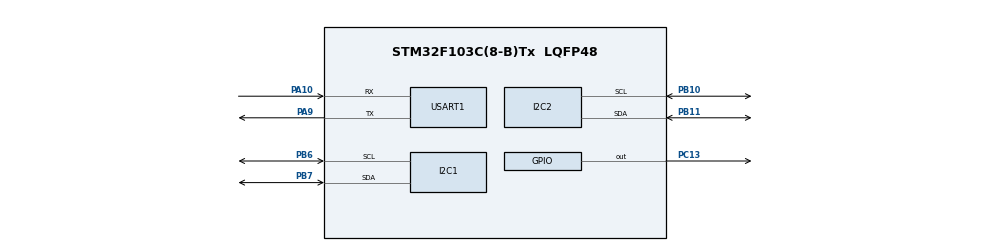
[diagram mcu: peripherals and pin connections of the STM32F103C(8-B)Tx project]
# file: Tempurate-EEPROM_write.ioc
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Dma.Request0=USART1_TX
Dma.USART1_TX.0.Direction=DMA_MEMORY_TO_PERIPH
Dma.USART1_TX.0.Instance=DMA1_Channel4
Dma.USART1_TX.0.MemDataAlignment=DMA_MDATAALIGN_BYTE
Dma.USART1_TX.0.MemInc=DMA_MINC_ENABLE
Dma.USART1_TX.0.Mode=DMA_NORMAL
Dma.USART1_TX.0.PeriphDataAlignment=DMA_PDATAALIGN_BYTE
Dma.USART1_TX.0.PeriphInc=DMA_PINC_DISABLE
Dma.USART1_TX.0.Priority=DMA_PRIORITY_LOW
FREERTOS.BinarySemaphores01=myBinarySem01,Dynamic,NULL,Available
FREERTOS.CountingSemaphores01=myCountingSem01,2,Dynamic,NULL,0
FREERTOS.Queues01=myQueue01,16,uint16_t,0,Dynamic,NULL,NULL
FREERTOS.Tasks01=defaultTask,24,128,StartDefaultTask,Default,NULL,Dynamic,NULL,NULL;myTask02,8,128,StartTask02,Default,NULL,Dynamic,NULL,NULL;myTask03,8,128,StartTask03,Default,NULL,Dynamic,NULL,NULL;myTask04,8,128,StartTask04,Default,NULL,Dynamic,NULL,NULL
Mcu.Family=STM32F1
Mcu.Name=STM32F103C(8-B)Tx
Mcu.Package=LQFP48
NVIC.DMA1_Channel4_IRQn=true\:5\:0\:false\:false\:true\:true\:false\:true\:true
NVIC.I2C1_EV_IRQn=true\:5\:0\:false\:false\:true\:true\:true\:true\:true
NVIC.I2C2_EV_IRQn=true\:5\:0\:false\:false\:true\:true\:true\:true\:true
NVIC.PriorityGroup=NVIC_PRIORITYGROUP_4
PA10.Mode=Asynchronous
PA10.Signal=USART1_RX
PA13.Mode=Serial_Wire
PA13.Signal=SYS_JTMS-SWDIO
PA14.Mode=Serial_Wire
PA14.Signal=SYS_JTCK-SWCLK
PA9.Mode=Asynchronous
PA9.Signal=USART1_TX
PB10.Mode=I2C
PB10.Signal=I2C2_SCL
PB11.Mode=I2C
PB11.Signal=I2C2_SDA
PB6.Mode=I2C
PB6.Signal=I2C1_SCL
PB7.Mode=I2C
PB7.Signal=I2C1_SDA
PC13-TAMPER-RTC.Signal=GPIO_Output
PD0-OSC_IN.Mode=HSE-External-Oscillator
PD0-OSC_IN.Signal=RCC_OSC_IN
PD1-OSC_OUT.Mode=HSE-External-Oscillator
PD1-OSC_OUT.Signal=RCC_OSC_OUT
ProjectManager.HeapSize=0x200
ProjectManager.StackSize=0x400
ProjectManager.TargetToolchain=STM32CubeIDE
RCC.APB1Freq_Value=8000000
RCC.APB2Freq_Value=8000000
USART1.VirtualMode=VM_ASYNC
VP_FREERTOS_VS_CMSIS_V2.Mode=CMSIS_V2
board=custom

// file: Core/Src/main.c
/* USER CODE BEGIN Header */
/**
  ******************************************************************************
  * @file           : main.c
  * @brief          : Main program body
  ******************************************************************************
  * @attention
  *
  * Copyright (c) 2026 STMicroelectronics.
  * All rights reserved.
  *
  * This software is licensed under terms that can be found in the LICENSE file
  * in the root directory of this software component.
  * If no LICENSE file comes with this software, it is provided AS-IS.
  *
  ******************************************************************************
  */
/* USER CODE END Header */
#include "main.h"
#include "cmsis_os.h"

/* USER CODE BEGIN Includes */
#include "modules.h"
/* USER CODE END Includes */

/* USER CODE BEGIN PD */
#define address_AHT20 0x38<<1
/* USER CODE END PD */

I2C_HandleTypeDef hi2c1;
I2C_HandleTypeDef hi2c2;

UART_HandleTypeDef huart1;
DMA_HandleTypeDef hdma_usart1_tx;

/* Definitions for defaultTask */
osThreadId_t defaultTaskHandle;
const osThreadAttr_t defaultTask_attributes = {
  .name = "defaultTask",
  .stack_size = 128 * 4,
  .priority = (osPriority_t) osPriorityNormal,
};
/* Definitions for myTask02 */
osThreadId_t myTask02Handle;
const osThreadAttr_t myTask02_attributes = {
  .name = "myTask02",
  .stack_size = 128 * 4,
  .priority = (osPriority_t) osPriorityLow,
};
/* Definitions for myTask03 */
osThreadId_t myTask03Handle;
const osThreadAttr_t myTask03_attributes = {
  .name = "myTask03",
  .stack_size = 128 * 4,
  .priority = (osPriority_t) osPriorityLow,
};
/* Definitions for myTask04 */
osThreadId_t myTask04Handle;
const osThreadAttr_t myTask04_attributes = {
  .name = "myTask04",
  .stack_size = 128 * 4,
  .priority = (osPriority_t) osPriorityLow,
};
/* Definitions for myQueue01 */
osMessageQueueId_t myQueue01Handle;
const osMessageQueueAttr_t myQueue01_attributes = {
  .name = "myQueue01"
};
/* Definitions for myBinarySem01 */
osSemaphoreId_t myBinarySem01Handle;
const osSemaphoreAttr_t myBinarySem01_attributes = {
  .name = "myBinarySem01"
};
/* Definitions for myCountingSem01 */
osSemaphoreId_t myCountingSem01Handle;
const osSemaphoreAttr_t myCountingSem01_attributes = {
  .name = "myCountingSem01"
};

void SystemClock_Config(void);
static void MX_GPIO_Init(void);
static void MX_DMA_Init(void);
static void MX_I2C1_Init(void);
static void MX_I2C2_Init(void);
static void MX_USART1_UART_Init(void);
void StartDefaultTask(void *argument);
void StartTask02(void *argument);
void StartTask03(void *argument);
void StartTask04(void *argument);

int main(void)
{

  /* MCU Configuration--------------------------------------------------------*/

  /* Reset of all peripherals, Initializes the Flash interface and the Systick. */
  HAL_Init();

  /* Configure the system clock */
  SystemClock_Config();

  /* Initialize all configured peripherals */
  MX_GPIO_Init();
  MX_DMA_Init();
  MX_I2C1_Init();
  MX_I2C2_Init();
  MX_USART1_UART_Init();

  /* Init scheduler */
  osKernelInitialize();

  /* Create the semaphores(s) */
  /* creation of myBinarySem01 */
  myBinarySem01Handle = osSemaphoreNew(1, 1, &myBinarySem01_attributes);

  /* creation of myCountingSem01 */
  myCountingSem01Handle = osSemaphoreNew(2, 0, &myCountingSem01_attributes);

  /* Create the queue(s) */
  /* creation of myQueue01 */
  myQueue01Handle = osMessageQueueNew (16, sizeof(uint16_t), &myQueue01_attributes);

  /* Create the thread(s) */
  /* creation of defaultTask */
  defaultTaskHandle = osThreadNew(StartDefaultTask, NULL, &defaultTask_attributes);

  /* creation of myTask02 */
  myTask02Handle = osThreadNew(StartTask02, NULL, &myTask02_attributes);

  /* creation of myTask03 */
  myTask03Handle = osThreadNew(StartTask03, NULL, &myTask03_attributes);

  /* creation of myTask04 */
  myTask04Handle = osThreadNew(StartTask04, NULL, &myTask04_attributes);

  /* Start scheduler */
  osKernelStart();

  /* We should never get here as control is now taken by the scheduler */

  /* Infinite loop */
  while (1)
  {

  }
}

void SystemClock_Config(void)
{
  RCC_OscInitTypeDef RCC_OscInitStruct = {0};
  RCC_ClkInitTypeDef RCC_ClkInitStruct = {0};

  /** Initializes the RCC Oscillators according to the specified parameters
  * in the RCC_OscInitTypeDef structure.
  */
  RCC_OscInitStruct.OscillatorType = RCC_OSCILLATORTYPE_HSI;
  RCC_OscInitStruct.HSIState = RCC_HSI_ON;
  RCC_OscInitStruct.HSICalibrationValue = RCC_HSICALIBRATION_DEFAULT;
  RCC_OscInitStruct.PLL.PLLState = RCC_PLL_NONE;
  if (HAL_RCC_OscConfig(&RCC_OscInitStruct) != HAL_OK)
  {
    Error_Handler();
  }

  /** Initializes the CPU, AHB and APB buses clocks
  */
  RCC_ClkInitStruct.ClockType = RCC_CLOCKTYPE_HCLK|RCC_CLOCKTYPE_SYSCLK
                              |RCC_CLOCKTYPE_PCLK1|RCC_CLOCKTYPE_PCLK2;
  RCC_ClkInitStruct.SYSCLKSource = RCC_SYSCLKSOURCE_HSI;
  RCC_ClkInitStruct.AHBCLKDivider = RCC_SYSCLK_DIV1;
  RCC_ClkInitStruct.APB1CLKDivider = RCC_HCLK_DIV1;
  RCC_ClkInitStruct.APB2CLKDivider = RCC_HCLK_DIV1;

  if (HAL_RCC_ClockConfig(&RCC_ClkInitStruct, FLASH_LATENCY_0) != HAL_OK)
  {
    Error_Handler();
  }
}

static void MX_I2C1_Init(void)
{

  hi2c1.Instance = I2C1;
  hi2c1.Init.ClockSpeed = 100000;
  hi2c1.Init.DutyCycle = I2C_DUTYCYCLE_2;
  hi2c1.Init.OwnAddress1 = 0;
  hi2c1.Init.AddressingMode = I2C_ADDRESSINGMODE_7BIT;
  hi2c1.Init.DualAddressMode = I2C_DUALADDRESS_DISABLE;
  hi2c1.Init.OwnAddress2 = 0;
  hi2c1.Init.GeneralCallMode = I2C_GENERALCALL_DISABLE;
  hi2c1.Init.NoStretchMode = I2C_NOSTRETCH_DISABLE;
  if (HAL_I2C_Init(&hi2c1) != HAL_OK)
  {
    Error_Handler();
  }

}

static void MX_I2C2_Init(void)
{

  hi2c2.Instance = I2C2;
  hi2c2.Init.ClockSpeed = 100000;
  hi2c2.Init.DutyCycle = I2C_DUTYCYCLE_2;
  hi2c2.Init.OwnAddress1 = 0;
  hi2c2.Init.AddressingMode = I2C_ADDRESSINGMODE_7BIT;
  hi2c2.Init.DualAddressMode = I2C_DUALADDRESS_DISABLE;
  hi2c2.Init.OwnAddress2 = 0;
  hi2c2.Init.GeneralCallMode = I2C_GENERALCALL_DISABLE;
  hi2c2.Init.NoStretchMode = I2C_NOSTRETCH_DISABLE;
  if (HAL_I2C_Init(&hi2c2) != HAL_OK)
  {
    Error_Handler();
  }

}

static void MX_USART1_UART_Init(void)
{

  huart1.Instance = USART1;
  huart1.Init.BaudRate = 115200;
  huart1.Init.WordLength = UART_WORDLENGTH_8B;
  huart1.Init.StopBits = UART_STOPBITS_1;
  huart1.Init.Parity = UART_PARITY_NONE;
  huart1.Init.Mode = UART_MODE_TX_RX;
  huart1.Init.HwFlowCtl = UART_HWCONTROL_NONE;
  huart1.Init.OverSampling = UART_OVERSAMPLING_16;
  if (HAL_UART_Init(&huart1) != HAL_OK)
  {
    Error_Handler();
  }

}

static void MX_DMA_Init(void)
{

  /* DMA controller clock enable */
  __HAL_RCC_DMA1_CLK_ENABLE();

  /* DMA interrupt init */
  /* DMA1_Channel4_IRQn interrupt configuration */
  HAL_NVIC_SetPriority(DMA1_Channel4_IRQn, 5, 0);
  HAL_NVIC_EnableIRQ(DMA1_Channel4_IRQn);

}

static void MX_GPIO_Init(void)
{
  GPIO_InitTypeDef GPIO_InitStruct = {0};

  /* GPIO Ports Clock Enable */
  __HAL_RCC_GPIOC_CLK_ENABLE();
  __HAL_RCC_GPIOD_CLK_ENABLE();
  __HAL_RCC_GPIOB_CLK_ENABLE();
  __HAL_RCC_GPIOA_CLK_ENABLE();

  /*Configure GPIO pin Output Level */
  HAL_GPIO_WritePin(GPIOC, GPIO_PIN_13, GPIO_PIN_RESET);

  /*Configure GPIO pin : PC13 */
  GPIO_InitStruct.Pin = GPIO_PIN_13;
  GPIO_InitStruct.Mode = GPIO_MODE_OUTPUT_PP;
  GPIO_InitStruct.Pull = GPIO_NOPULL;
  GPIO_InitStruct.Speed = GPIO_SPEED_FREQ_LOW;
  HAL_GPIO_Init(GPIOC, &GPIO_InitStruct);

}

void StartDefaultTask(void *argument)
{
  for(;;)
  {
    osDelay(1);
  }
}

void StartTask02(void *argument) //работа с AHT20
{
  /* USER CODE BEGIN StartTask02 */
  /* Infinite loop */
	AHT_Init(address_AHT20);
  for(;;)
  {

	switch(aht20_data.global_status){

	case INIT_DONE:
		AHT_Command_Transmit(address_AHT20);
		break;

	case TRANSMIT_ERROR:
		for(uint8_t attemps = 0 ; attemps<5 ; attemps++){
			AHT_Command_Transmit(address_AHT20);
			if(aht20_data.global_status==TRANSMIT_DONE) break;
		}
		break;

	case TRANSMIT_DONE:
			AHT_Data_Recieve(address_AHT20,&aht20_data.hum,&aht20_data.temp);
		break;

	default:
	      for(uint8_t attemps = 0; attemps < 5; attemps++){
	             AHT_Init(address_AHT20);
	             if(aht20_data.global_status == INIT_DONE) break;
	       }
	       break;
	}

    osDelay(20);
  }
  /* USER CODE END StartTask02 */
}

void StartTask03(void *argument)
{
  for(;;)
  {
    osDelay(1);
  }
}

void StartTask04(void *argument)
{
  for(;;)
  {
    osDelay(1);
  }
}

void Error_Handler(void)
{
  __disable_irq();
  while (1)
  {
  }
}
